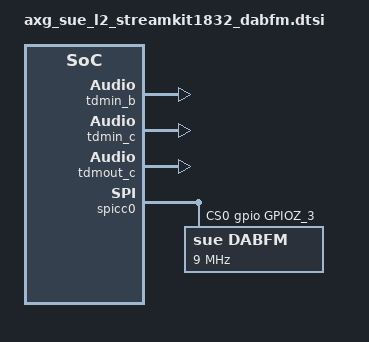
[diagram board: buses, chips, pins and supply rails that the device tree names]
// SPDX-License-Identifier: (GPL-2.0+ OR MIT)
/*
 * Copyright (C) 2022 StreamUnlimited, Inc. All rights reserved.
 */

/*
 * DT for components located on StreamKit1832 L0 daughter board which are
 * selected with DIP switches, when the daughter board is present.
 */

/ {
	sue {
		daughterboard = "dabfm";
	};
};

&tdmin_b {
	status = "okay";
};

&tdmin_c {
	status = "okay";
};

&tdmout_c {
	status = "okay";
};

&sound {
	audio-aux-devs = <&tdmin_b>, <&tdmin_c>, <&tdmout_c>;
					/* "sink", 		"source" */
	audio-routing = "TDM_C Playback", "TDMOUT_C OUT",
					"TDMOUT_C IN 1", "FRDDR_B OUT 2",
					"SPDIFOUT IN 2", "FRDDR_C OUT 3",
					"TODDR_C IN 3", "SPDIFIN Capture",
					"TDMIN_C IN 2", "TDM_C Capture",
					"TDMIN_C IN 5", "TDM_C Loopback",
					"TODDR_B IN 2", "TDMIN_C OUT",
					"TDMIN_B IN 1", "TDM_B Capture",
					"TODDR_A IN 1", "TDMIN_B OUT";
	
	dai-link-6 {
		sound-dai = <&tdmif_b>;
		dai-format = "i2s";
		dai-tdm-slot-rx-mask-0 = <1 1>;
		dai-tdm-slot-num = <2>;
		dai-tdm-slot-width = <32>;
		mclk-fs = <0>;
		system-clock-frequency = <24576000>;

		codec {
			sound-dai = <&dummy_codec>;
		};
	};

	dai-link-7 {
		sound-dai = <&tdmif_c>;
		dai-format = "i2s";
		dai-tdm-slot-tx-mask-0 = <1 1>;
		dai-tdm-slot-rx-mask-1 = <1 1>;
		dai-tdm-slot-num = <2>;
		dai-tdm-slot-width = <32>;
		mclk-fs = <0>;
		continuous-clock;
		system-clock-frequency = <24576000>;

		codec-0 {
			sound-dai = <&ma12040_20>;
		};

		/*
		* Dummy codec is used here because ma12040_20 can only
		* do playback and not record. To be able to support capture
		* a codec is needed here that supports it.
		*/
		codec-1 {
			sound-dai = <&dummy_codec>;
		};
	};

	dai-link-8 {
		sound-dai = <&spdifout>;

		codec {
			sound-dai = <&spdif_dit>;
		};
	};

	dai-link-9 {
		sound-dai = <&spdifin>;

		codec {
			sound-dai = <&spdif_dir>;
		};
	};
};

&spicc0 {
	num-cs = <2>;
	cs-gpios = <&gpio GPIOZ_3 GPIO_ACTIVE_HIGH>, <&gpio GPIOZ_4 GPIO_ACTIVE_HIGH>;
	dabfm: spi@0 {
		compatible = "sue,dabfm";
		status = "okay";
		reg = <0>;
		spi-max-frequency = <9000000>;
	};
};
